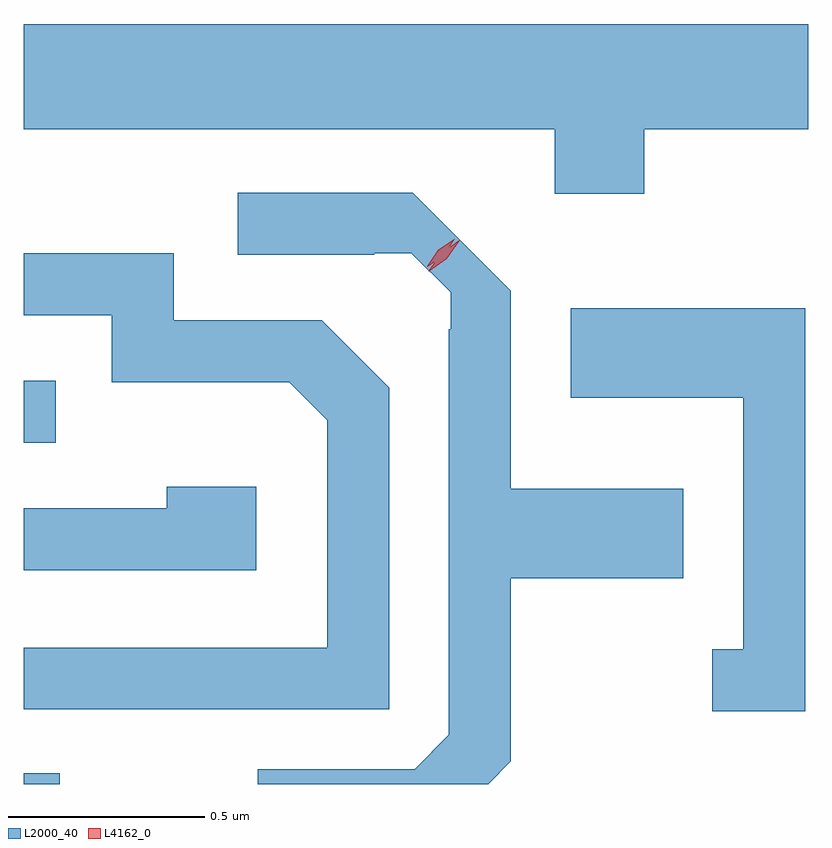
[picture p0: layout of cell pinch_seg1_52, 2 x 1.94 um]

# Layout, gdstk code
import gdstk
lib = gdstk.Library(unit=1e-6, precision=1e-09)
def R(c, l, rs):  # rectangles x0, y0, x1, y1
    for r in rs: c.add(gdstk.rectangle(r[:2], r[2:], *l))
def P(c, l, *ps):  # polygons
    for p in ps: c.add(gdstk.Polygon(p, *l))
L2000_40 = (2000, 40)
L4162_0 = (4162, 0)

pinch_seg1_52 = lib.new_cell('pinch_seg1_52')
R(pinch_seg1_52, L2000_40, [(1107.957,937.866,1108.049,937.894), (1107.957,938.736,1108.038,938.894)])
P(pinch_seg1_52, L2000_40, [(1109.539,939.536),(1109.957,939.536),(1109.957,939.804),(1107.957,939.804),(1107.957,939.536),(1109.311,939.536),(1109.311,939.371),(1109.539,939.371)],
  [(1109.199,937.924),(1109.199,938.391),(1109.639,938.391),(1109.639,938.619),(1109.199,938.619),(1109.199,939.124),(1108.949,939.374),(1108.503,939.374),(1108.503,939.216),(1108.85,939.216),(1108.85,939.22),(1108.945,939.22),(1109.045,939.12),(1109.045,939.025),(1109.041,939.025),(1109.041,937.992),(1108.954,937.904),(1108.553,937.904),(1108.553,937.866),(1109.141,937.866)],
  [(1108.889,938.877),(1108.717,939.049),(1108.339,939.049),(1108.339,939.219),(1107.957,939.219),(1107.957,939.061),(1108.181,939.061),(1108.181,938.891),(1108.634,938.891),(1108.731,938.794),(1108.731,938.214),(1107.957,938.214),(1107.957,938.056),(1108.889,938.056)],
  [(1109.949,939.079),(1109.351,939.079),(1109.351,938.851),(1109.791,938.851),(1109.791,938.209),(1109.713,938.209),(1109.713,938.051),(1109.949,938.051)],
  [(1108.549,938.624),(1108.321,938.624),(1108.321,938.569),(1107.957,938.569),(1107.957,938.411),(1108.549,938.411)])
P(pinch_seg1_52, L4162_0, [(1108.99,939.174),(1108.99,939.175),(1109.022,939.22),(1109.067,939.252),(1109.068,939.252),(1109.068,939.252),(1109.036,939.206),(1108.991,939.174)],
  [(1108.986,939.185),(1108.986,939.186),(1109.014,939.228),(1109.056,939.257),(1109.056,939.257),(1109.056,939.256),(1109.028,939.214),(1108.987,939.185)])

lib.write_gds('pinch_seg1_52.gds')
